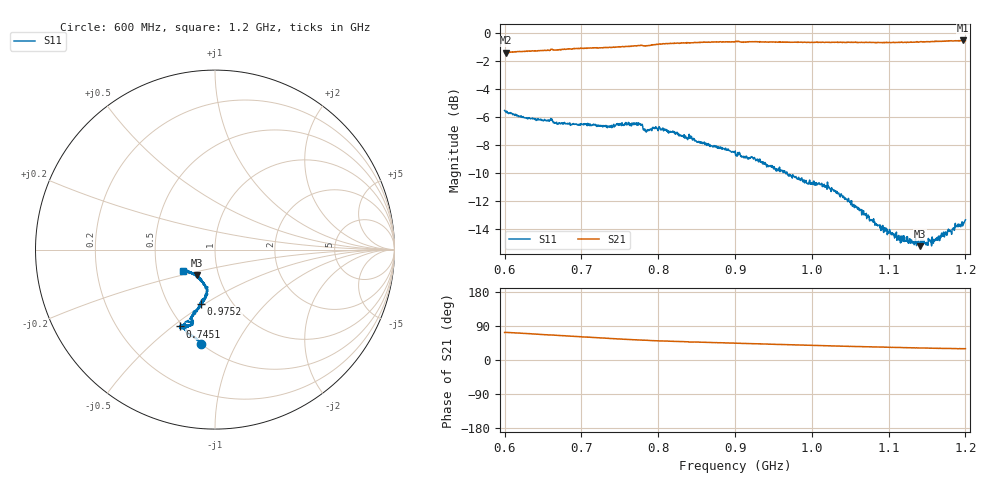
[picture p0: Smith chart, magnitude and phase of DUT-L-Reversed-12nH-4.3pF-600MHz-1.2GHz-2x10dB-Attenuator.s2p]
# HZ S RI R 50
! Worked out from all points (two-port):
!   1010 points, 600 MHz to 1.2 GHz, reference 50 ohm
!   highest |S21| = -0.53 dB at 1.197 GHz (marker M1); lowest = -1.4 dB at 601.2 MHz (marker M2)
!   |S21| within 3 dB of the highest: start of sweep to end of sweep
!   lowest |S11| = -15.2 dB at 1.141 GHz (marker M3), VSWR 1.42, Z = 39.4 - j11.5 ohm
!   |S11| at or under -10 dB: 965.9375 MHz to 966.6528 MHz (715.4 kHz wide, 0.074 % of centre); 967.8 MHz to end of sweep
!   S12 and S22 are empty: the file has one direction only
!   S11 on the Smith chart (normalised r, x): 600 MHz: 0.50, -0.73; 745.1 MHz: 0.48, -0.53; 975.2 MHz: 0.72, -0.48; 1.2 GHz: 0.68, -0.17
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6e8  -0.0766 -0.5235  0.2532 0.8129  0 0  0 0
6.011893e8  -0.0781 -0.5198  0.2499 0.8133  0 0  0 0
6.487611e8  -0.1478 -0.4643  0.3352 0.798  0 0  0 0
7.004955e8  -0.1811 -0.4375  0.4243 0.7735  0 0  0 0
7.450941e8  -0.1938 -0.4284  0.4986 0.7383  0 0  0 0
7.766105e8  -0.1855 -0.4367  0.5495 0.7158  0 0  0 0
7.849355e8  -0.1673 -0.4145  0.5535 0.7114  0 0  0 0
8.003964e8  -0.1608 -0.4292  0.5807 0.7031  0 0  0 0
8.319127e8  -0.125 -0.4092  0.6082 0.6916  0 0  0 0
8.539147e8  -0.1323 -0.3829  0.6287 0.6806  0 0  0 0
9.002972e8  -0.1158 -0.3614  0.6635 0.6557  0 0  0 0
9.234885e8  -0.1009 -0.344  0.6779 0.6377  0 0  0 0
9.752229e8  -0.0763 -0.3027  0.7091 0.5967  0 0  0 0
1.000198e9  -0.0685 -0.2806  0.7249 0.5781  0 0  0 0
1.023389e9  -0.0545 -0.2728  0.736 0.5607  0 0  0 0
1.065015e9  -0.0415 -0.2204  0.7557 0.5362  0 0  0 0
1.100099e9  -0.0677 -0.1806  0.7708 0.5109  0 0  0 0
1.113776e9  -0.08 -0.1635  0.7768 0.5052  0 0  0 0
1.14113e9  -0.1004 -0.1415  0.7936 0.4868  0 0  0 0
1.158969e9  -0.1273 -0.1322  0.8 0.4783  0 0  0 0
1.197027e9  -0.1716 -0.1204  0.8155 0.4686  0 0  0 0
1.2e9  -0.1786 -0.1203  0.8144 0.4666  0 0  0 0
